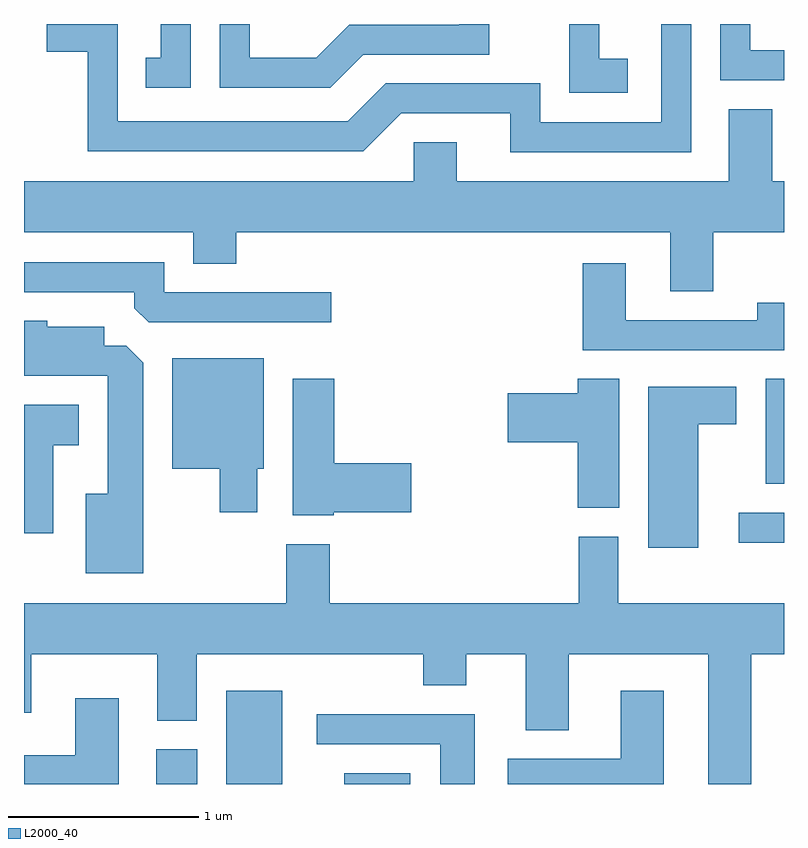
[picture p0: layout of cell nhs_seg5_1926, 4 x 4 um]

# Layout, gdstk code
import gdstk
lib = gdstk.Library(unit=1e-6, precision=1e-09)
def R(c, l, rs):  # rectangles x0, y0, x1, y1
    for r in rs: c.add(gdstk.rectangle(r[:2], r[2:], *l))
def P(c, l, *ps):  # polygons
    for p in ps: c.add(gdstk.Polygon(p, *l))
L2000_40 = (2000, 40)

nhs_seg5_1926 = lib.new_cell('nhs_seg5_1926')
R(nhs_seg5_1926, L2000_40, [(242.306,1496.072,242.524,1496.254), (242.676,1496.072,242.969,1496.564), (243.296,1496.072,243.644,1496.129), (245.373,1497.341,245.611,1497.499), (245.516,1497.651,245.611,1498.204)])
P(nhs_seg5_1926, L2000_40, [(243.397,1499.911),(244.059,1499.911),(244.059,1500.072),(243.901,1500.072),(243.901,1500.069),(243.324,1500.069),(243.149,1499.894),(242.799,1499.894),(242.799,1500.072),(242.641,1500.072),(242.641,1499.736),(243.222,1499.736)],
  [(242.489,1500.072),(242.331,1500.072),(242.331,1499.894),(242.253,1499.894),(242.253,1499.736),(242.489,1499.736)],
  [(245.611,1499.934),(245.434,1499.934),(245.434,1500.072),(245.276,1500.072),(245.276,1499.776),(245.611,1499.776)],
  [(244.789,1499.889),(244.639,1499.889),(244.639,1500.072),(244.481,1500.072),(244.481,1499.711),(244.789,1499.711)],
  [(245.124,1500.072),(244.966,1500.072),(244.966,1499.554),(244.329,1499.554),(244.329,1499.759),(243.514,1499.759),(243.314,1499.559),(242.104,1499.559),(242.104,1500.072),(241.731,1500.072),(241.731,1499.926),(241.946,1499.926),(241.946,1499.401),(243.397,1499.401),(243.597,1499.601),(244.171,1499.601),(244.171,1499.396),(245.124,1499.396)],
  [(245.239,1498.976),(245.611,1498.976),(245.611,1499.244),(245.549,1499.244),(245.549,1499.624),(245.321,1499.624),(245.321,1499.244),(243.889,1499.244),(243.889,1499.449),(243.661,1499.449),(243.661,1499.244),(241.611,1499.244),(241.611,1498.976),(242.501,1498.976),(242.501,1498.811),(242.729,1498.811),(242.729,1498.976),(245.011,1498.976),(245.011,1498.666),(245.239,1498.666)],
  [(243.228,1498.659),(242.349,1498.659),(242.349,1498.819),(241.611,1498.819),(241.611,1498.661),(242.191,1498.661),(242.191,1498.577),(242.267,1498.501),(243.228,1498.501)],
  [(245.611,1498.604),(245.471,1498.604),(245.471,1498.514),(244.779,1498.514),(244.779,1498.814),(244.551,1498.814),(244.551,1498.356),(245.611,1498.356)],
  [(242.239,1498.289),(242.149,1498.379),(242.034,1498.379),(242.034,1498.479),(241.734,1498.479),(241.734,1498.509),(241.611,1498.509),(241.611,1498.221),(242.051,1498.221),(242.051,1497.599),(241.936,1497.599),(241.936,1497.181),(242.239,1497.181)],
  [(242.839,1497.731),(242.874,1497.731),(242.874,1498.314),(242.391,1498.314),(242.391,1497.731),(242.641,1497.731),(242.641,1497.501),(242.839,1497.501)],
  [(244.744,1498.204),(244.526,1498.204),(244.526,1498.129),(244.156,1498.129),(244.156,1497.871),(244.526,1497.871),(244.526,1497.526),(244.744,1497.526)],
  [(243.24,1497.501),(243.649,1497.501),(243.649,1497.759),(243.244,1497.759),(243.244,1498.204),(243.026,1498.204),(243.026,1497.486),(243.24,1497.486)],
  [(245.159,1497.966),(245.359,1497.966),(245.359,1498.164),(244.896,1498.164),(244.896,1497.316),(245.159,1497.316)],
  [(241.764,1497.856),(241.899,1497.856),(241.899,1498.069),(241.611,1498.069),(241.611,1497.391),(241.764,1497.391)],
  [(245.439,1496.756),(245.611,1496.756),(245.611,1497.024),(244.739,1497.024),(244.739,1497.374),(244.531,1497.374),(244.531,1497.024),(243.219,1497.024),(243.219,1497.334),(242.991,1497.334),(242.991,1497.024),(241.611,1497.024),(241.611,1496.446),(241.649,1496.446),(241.649,1496.756),(242.311,1496.756),(242.311,1496.406),(242.519,1496.406),(242.519,1496.756),(243.711,1496.756),(243.711,1496.591),(243.939,1496.591),(243.939,1496.756),(244.251,1496.756),(244.251,1496.356),(244.479,1496.356),(244.479,1496.756),(245.211,1496.756),(245.211,1496.072),(245.439,1496.072)],
  [(244.979,1496.564),(244.751,1496.564),(244.751,1496.204),(244.156,1496.204),(244.156,1496.072),(244.979,1496.072)],
  [(242.109,1496.524),(241.881,1496.524),(241.881,1496.224),(241.611,1496.224),(241.611,1496.072),(242.109,1496.072)],
  [(243.984,1496.439),(243.153,1496.439),(243.153,1496.281),(243.801,1496.281),(243.801,1496.072),(243.984,1496.072)])

lib.write_gds('nhs_seg5_1926.gds')
